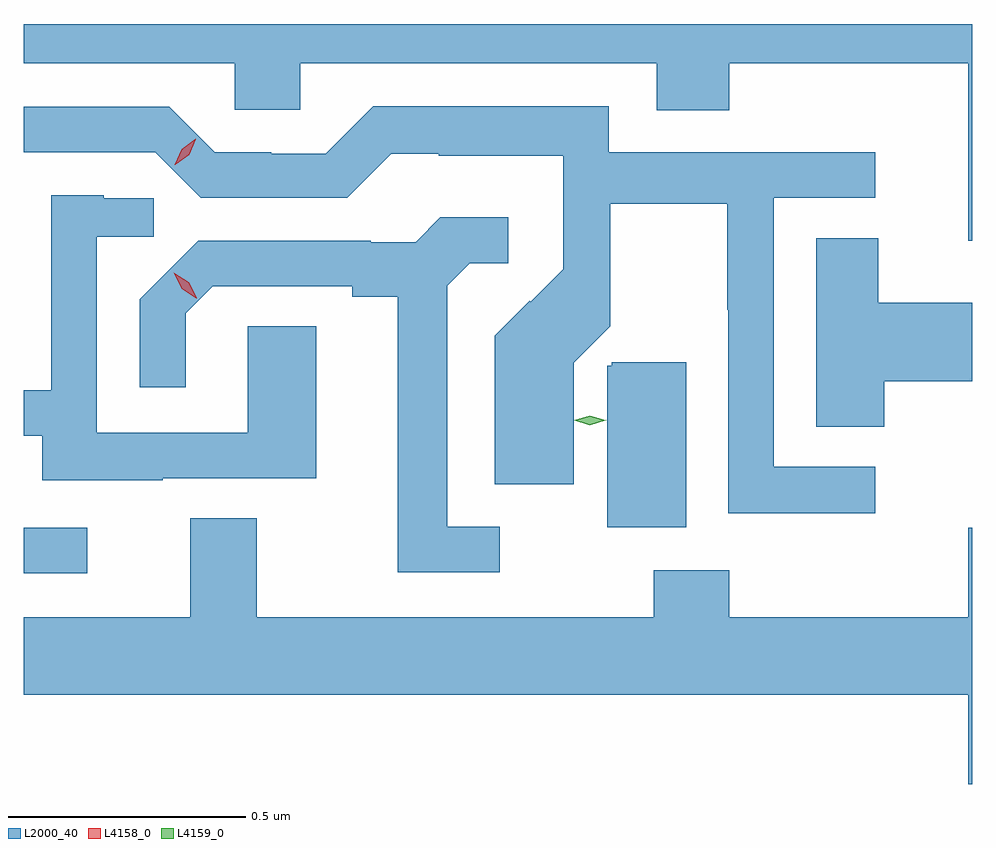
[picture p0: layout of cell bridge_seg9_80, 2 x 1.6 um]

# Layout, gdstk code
import gdstk
lib = gdstk.Library(unit=1e-6, precision=1e-09)
def R(c, l, rs):  # rectangles x0, y0, x1, y1
    for r in rs: c.add(gdstk.rectangle(r[:2], r[2:], *l))
def P(c, l, *ps):  # polygons
    for p in ps: c.add(gdstk.Polygon(p, *l))
L2000_40 = (2000, 40)
L4158_0 = (4158, 0)
L4159_0 = (4159, 0)

bridge_seg9_80 = lib.new_cell('bridge_seg9_80')
R(bridge_seg9_80, L2000_40, [(1145.81,1206,1145.944,1206.096)])
P(bridge_seg9_80, L2000_40, [(1147.81,1207.159),(1145.81,1207.159),(1145.81,1207.076),(1146.255,1207.076),(1146.255,1206.978),(1146.393,1206.978),(1146.393,1207.076),(1147.145,1207.076),(1147.145,1206.977),(1147.298,1206.977),(1147.298,1207.076),(1147.802,1207.076),(1147.802,1206.702),(1147.81,1206.702)],
  [(1147.606,1206.225),(1147.392,1206.225),(1147.392,1206.792),(1147.606,1206.792),(1147.606,1206.888),(1147.044,1206.888),(1147.044,1206.985),(1146.547,1206.985),(1146.447,1206.885),(1146.332,1206.885),(1146.332,1206.888),(1146.213,1206.888),(1146.117,1206.984),(1145.81,1206.984),(1145.81,1206.888),(1146.087,1206.888),(1146.183,1206.792),(1146.492,1206.792),(1146.585,1206.885),(1146.685,1206.885),(1146.685,1206.881),(1146.948,1206.881),(1146.948,1206.642),(1146.879,1206.573),(1146.877,1206.575),(1146.803,1206.501),(1146.803,1206.188),(1146.97,1206.188),(1146.97,1206.444),(1147.047,1206.521),(1147.047,1206.78),(1147.294,1206.78),(1147.294,1206.556),(1147.296,1206.556),(1147.296,1206.127),(1147.606,1206.127)],
  [(1146.103,1206.201),(1146.427,1206.201),(1146.427,1206.521),(1146.282,1206.521),(1146.282,1206.297),(1145.964,1206.297),(1145.964,1206.71),(1146.084,1206.71),(1146.084,1206.791),(1145.978,1206.791),(1145.978,1206.798),(1145.868,1206.798),(1145.868,1206.387),(1145.81,1206.387),(1145.81,1206.291),(1145.849,1206.291),(1145.849,1206.197),(1146.103,1206.197)],
  [(1146.814,1206.099),(1146.703,1206.099),(1146.703,1206.607),(1146.75,1206.654),(1146.832,1206.654),(1146.832,1206.751),(1146.688,1206.751),(1146.636,1206.699),(1146.542,1206.699),(1146.542,1206.702),(1146.178,1206.702),(1146.054,1206.578),(1146.054,1206.393),(1146.151,1206.393),(1146.151,1206.549),(1146.208,1206.606),(1146.503,1206.606),(1146.503,1206.584),(1146.599,1206.584),(1146.599,1206.003),(1146.814,1206.003)],
  [(1147.625,1206.406),(1147.81,1206.406),(1147.81,1206.571),(1147.612,1206.571),(1147.612,1206.707),(1147.481,1206.707),(1147.481,1206.31),(1147.625,1206.31)],
  [(1147.207,1206.446),(1147.05,1206.446),(1147.05,1206.438),(1147.04,1206.438),(1147.04,1206.098),(1147.207,1206.098)],
  [(1147.81,1206.097),(1147.802,1206.097),(1147.802,1205.908),(1147.298,1205.908),(1147.298,1206.007),(1147.138,1206.007),(1147.138,1205.908),(1146.301,1205.908),(1146.301,1206.116),(1146.161,1206.116),(1146.161,1205.908),(1145.81,1205.908),(1145.81,1205.744),(1147.802,1205.744),(1147.802,1205.556),(1147.81,1205.556)])
P(bridge_seg9_80, L4158_0, [(1146.174,1206.581),(1146.143,1206.601),(1146.126,1206.634),(1146.126,1206.634),(1146.126,1206.634),(1146.158,1206.614),(1146.175,1206.582),(1146.175,1206.581)],
  [(1146.128,1206.862),(1146.128,1206.862),(1146.143,1206.895),(1146.173,1206.917),(1146.173,1206.917),(1146.173,1206.916),(1146.159,1206.883),(1146.129,1206.862)])
P(bridge_seg9_80, L4159_0, [(1147.004,1206.313),(1146.971,1206.323),(1146.971,1206.323),(1146.971,1206.323),(1147.004,1206.333),(1147.037,1206.323),(1147.038,1206.323),(1147.037,1206.323)])

lib.write_gds('bridge_seg9_80.gds')
